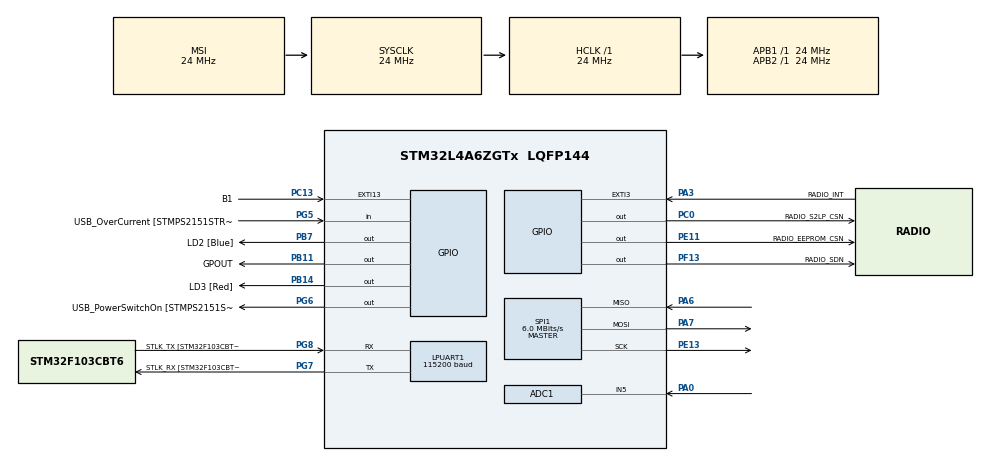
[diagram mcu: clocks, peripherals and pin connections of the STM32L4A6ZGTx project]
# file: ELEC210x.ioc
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ADC1.Channel-0\#ChannelRegularConversion=ADC_CHANNEL_5
ADC1.ClockPrescaler=ADC_CLOCK_ASYNC_DIV1
ADC1.ContinuousConvMode=DISABLE
ADC1.DMAContinuousRequests=ENABLE
ADC1.ExternalTrigConv=ADC_EXTERNALTRIG_T3_TRGO
ADC1.NbrOfConversionFlag=1
ADC1.OffsetNumber-0\#ChannelRegularConversion=ADC_OFFSET_NONE
ADC1.Rank-0\#ChannelRegularConversion=1
ADC1.SamplingTime-0\#ChannelRegularConversion=ADC_SAMPLETIME_2CYCLES_5
ADC1.master=1
Dma.ADC1.0.Direction=DMA_PERIPH_TO_MEMORY
Dma.ADC1.0.Instance=DMA1_Channel1
Dma.ADC1.0.MemDataAlignment=DMA_MDATAALIGN_HALFWORD
Dma.ADC1.0.MemInc=DMA_MINC_ENABLE
Dma.ADC1.0.Mode=DMA_CIRCULAR
Dma.ADC1.0.PeriphDataAlignment=DMA_PDATAALIGN_HALFWORD
Dma.ADC1.0.PeriphInc=DMA_PINC_DISABLE
Dma.ADC1.0.Priority=DMA_PRIORITY_LOW
Dma.Request0=ADC1
LPUART1.AutoBaudRateEnableParam=UART_ADVFEATURE_AUTOBAUDRATE_DISABLE
LPUART1.BaudRate=115200
LPUART1.DMADisableonRxErrorParam=UART_ADVFEATURE_DMA_ENABLEONRXERROR
LPUART1.DataInvertParam=UART_ADVFEATURE_DATAINV_DISABLE
LPUART1.MSBFirstParam=UART_ADVFEATURE_MSBFIRST_DISABLE
LPUART1.Mode=UART_MODE_TX_RX
LPUART1.OneBitSampling=UART_ONE_BIT_SAMPLE_DISABLE
LPUART1.OverrunDisableParam=UART_ADVFEATURE_OVERRUN_ENABLE
LPUART1.Parity=UART_PARITY_NONE
LPUART1.RxPinLevelInvertParam=UART_ADVFEATURE_RXINV_DISABLE
LPUART1.StopBits=UART_STOPBITS_1
LPUART1.SwapParam=UART_ADVFEATURE_SWAP_DISABLE
LPUART1.TxPinLevelInvertParam=UART_ADVFEATURE_TXINV_DISABLE
LPUART1.WordLength=UART_WORDLENGTH_8B
Mcu.Family=STM32L4
Mcu.Name=STM32L4A6ZGTx
Mcu.Package=LQFP144
NVIC.DMA1_Channel1_IRQn=true\:0\:0\:false\:false\:true\:false\:true\:true
NVIC.EXTI15_10_IRQn=true\:0\:0\:false\:false\:true\:true\:true\:true
NVIC.EXTI3_IRQn=true\:0\:0\:false\:false\:true\:true\:true\:true
NVIC.PriorityGroup=NVIC_PRIORITYGROUP_4
PA0.Signal=ADCx_IN5
PA13\ (JTMS/SWDIO).GPIO_Label=TMS
PA13\ (JTMS/SWDIO).Mode=Trace_Asynchronous_SW
PA13\ (JTMS/SWDIO).Signal=SYS_JTMS-SWDIO
PA14\ (JTCK/SWCLK).GPIO_Label=TCK
PA14\ (JTCK/SWCLK).Mode=Trace_Asynchronous_SW
PA14\ (JTCK/SWCLK).Signal=SYS_JTCK-SWCLK
PA3.GPIO_Label=RADIO_INT
PA3.GPIO_ModeDefaultEXTI=GPIO_MODE_IT_FALLING
PA3.Signal=GPXTI3
PA6.Mode=Full_Duplex_Master
PA6.Signal=SPI1_MISO
PA7.Mode=Full_Duplex_Master
PA7.Signal=SPI1_MOSI
PB11.GPIO_Label=GPOUT
PB11.Signal=GPIO_Output
PB14.GPIO_Label=LD3 [Red]
PB14.Signal=GPIO_Output
PB3\ (JTDO/TRACESWO).GPIO_Label=SWO
PB3\ (JTDO/TRACESWO).Mode=Trace_Asynchronous_SW
PB3\ (JTDO/TRACESWO).Signal=SYS_JTDO-SWO
PB7.GPIO_Label=LD2 [Blue]
PB7.Signal=GPIO_Output
PC0.GPIO_Label=RADIO_S2LP_CSN
PC0.GPIO_Speed=GPIO_SPEED_FREQ_VERY_HIGH
PC0.PinState=GPIO_PIN_SET
PC0.Signal=GPIO_Output
PC13.GPIO_Label=B1
PC13.GPIO_ModeDefaultEXTI=GPIO_MODE_IT_RISING
PC13.Signal=GPXTI13
PC14-OSC32_IN\ (PC14).Mode=LSE-External-Oscillator
PC14-OSC32_IN\ (PC14).Signal=RCC_OSC32_IN
PC15-OSC32_OUT\ (PC15).Mode=LSE-External-Oscillator
PC15-OSC32_OUT\ (PC15).Signal=RCC_OSC32_OUT
PE11.GPIO_Label=RADIO_EEPROM_CSN
PE11.PinState=GPIO_PIN_SET
PE11.Signal=GPIO_Output
PE13.Mode=Full_Duplex_Master
PE13.Signal=SPI1_SCK
PF13.GPIO_Label=RADIO_SDN
PF13.PinState=GPIO_PIN_SET
PF13.Signal=GPIO_Output
PG5.GPIO_Label=USB_OverCurrent [STMPS2151STR_FAULT]
PG5.Signal=GPIO_Input
PG6.GPIO_Label=USB_PowerSwitchOn [STMPS2151STR_EN]
PG6.Signal=GPIO_Output
PG7.GPIO_Label=STLK_RX [STM32F103CBT6_PA3]
PG7.Mode=Asynchronous
PG7.Signal=LPUART1_TX
PG8.GPIO_Label=STLK_TX [STM32F103CBT6_PA2]
PG8.Mode=Asynchronous
PG8.Signal=LPUART1_RX
ProjectManager.HeapSize=0x200
ProjectManager.StackSize=0x400
ProjectManager.TargetToolchain=STM32CubeIDE
RCC.ADCCLockSelection=RCC_ADCCLKSOURCE_SYSCLK
RCC.ADCFreq_Value=24000000
RCC.AHBFreq_Value=24000000
RCC.APB1Freq_Value=24000000
RCC.APB1TimFreq_Value=24000000
RCC.APB2Freq_Value=24000000
RCC.APB2TimFreq_Value=24000000
RCC.CortexFreq_Value=24000000
RCC.FLatency=FLASH_LATENCY_1
RCC.HCLKFreq_Value=24000000
RCC.HSE_VALUE=8000000
RCC.HSI48_VALUE=48000000
RCC.HSI_VALUE=16000000
RCC.LPUART1CLockSelection=RCC_LPUART1CLKSOURCE_SYSCLK
RCC.MSIClockRange=RCC_MSIRANGE_9
RCC.MSI_VALUE=24000000
RCC.PLLN=24
RCC.PLLSAI1N=24
RCC.SYSCLKFreq_VALUE=24000000
RCC.USBFreq_Value=288000000
RCC.VCOOutputFreq_Value=576000000
SH.ADCx_IN5.0=ADC1_IN5,IN5-Single-Ended
SPI1.BaudRatePrescaler=SPI_BAUDRATEPRESCALER_4
SPI1.CalculateBaudRate=6.0 MBits/s
SPI1.DataSize=SPI_DATASIZE_8BIT
SPI1.Direction=SPI_DIRECTION_2LINES
SPI1.Mode=SPI_MODE_MASTER
SPI1.VirtualType=VM_MASTER
TIM3.Period=99
TIM3.Prescaler=23
TIM3.TIM_MasterOutputTrigger=TIM_TRGO_UPDATE
VP_TIM3_VS_ClockSourceINT.Mode=Internal
board=NUCLEO-L4A6ZG

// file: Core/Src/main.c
/* USER CODE BEGIN Header */
/**
 ******************************************************************************
 * @file           : main.c
 * @brief          : Main program body
 ******************************************************************************
 * @attention
 *
 * Copyright (c) 2026 STMicroelectronics.
 * All rights reserved.
 *
 * This software is licensed under terms that can be found in the LICENSE file
 * in the root directory of this software component.
 * If no LICENSE file comes with this software, it is provided AS-IS.
 *
 ******************************************************************************
 */
/* USER CODE END Header */
#include "main.h"
#include "adc.h"
#include "dma.h"
#include "spi.h"
#include "tim.h"
#include "gpio.h"

/* USER CODE BEGIN Includes */
#include "config.h"
#include "arm_math.h"
#include "usart.h"
#include "utils.h"
#include "s2lp.h"
#include "acquisition.h"
#include "computation.h"
#include "transfer.h"
#include "eval_radio.h"
/* USER CODE END Includes */

/* USER CODE BEGIN PV */
// From acquisition
extern volatile uint16_t *samples_buf_to_process;
extern volatile uint8_t is_processing;
// From computation
extern q15_t mel_vectors[N_MELVECS][MELVEC_LENGTH];
extern volatile uint8_t cur_melvec;
// From transfer
extern uint8_t packet[PACKET_LENGTH];
/* USER CODE END PV */

void SystemClock_Config(void);

/* USER CODE BEGIN 0 */

/*
 * @brief Manages external interrupts : user button and S2LP radio.
 * @note This overrides the __weak__ function in stm32l4xx_hal_gpio.c to provide an user implementation.
 */
void HAL_GPIO_EXTI_Callback(uint16_t GPIO_Pin)
{
	if (GPIO_Pin == B1_Pin) { // User button
		if (acquisition_start()) {
			printf("Acquisition not started, already running\r\n");
		} else {
			printf("Acquisition started\r\n");
		}
	}
	else if (GPIO_Pin == RADIO_INT_Pin) { // S2LP radio, will be used in P2d
		S2LP_IRQ_Handler();
	}
}
/* USER CODE END 0 */

int main(void)
{

  /* MCU Configuration--------------------------------------------------------*/

  /* Reset of all peripherals, Initializes the Flash interface and the Systick. */
  HAL_Init();

  /* Configure the system clock */
  SystemClock_Config();

  /* Initialize all configured peripherals */
  MX_GPIO_Init();
  MX_DMA_Init();
  MX_SPI1_Init();
  MX_ADC1_Init();
  MX_TIM3_Init();
  /* USER CODE BEGIN 2 */
#if DEBUGP
	MX_LPUART1_UART_Init();
	DEBUG_PRINT("Hello :)\r\n");
#endif
#if ENABLE_RADIO
  HAL_StatusTypeDef err = S2LP_Init(&hspi1);
  if (err)  {
	  DEBUG_PRINT("[S2LP] Error while initializing: %u\r\n", err);
	  Error_Handler();
  } else {
	  DEBUG_PRINT("[S2LP] Init OK\r\n");
  }
#endif
#if (RUN_CONFIG == EVAL_RADIO)
  eval_radio_start();
#else // MAIN_APP
  DEBUG_PRINT("Press the blue button to start acquisition.\r\n");
  /* USER CODE END 2 */

  /* Infinite loop */
  /* USER CODE BEGIN WHILE */
	while (1)
	{
		if (is_processing) {
			HAL_GPIO_TogglePin(GPOUT_GPIO_Port, GPOUT_Pin); // for oscillo timing measurements
			melvec_compute((q15_t *)samples_buf_to_process , mel_vectors[cur_melvec]);
			HAL_GPIO_TogglePin(GPOUT_GPIO_Port, GPOUT_Pin); // for oscillo timing measurements
			is_processing = 0;
			cur_melvec++;
			if (cur_melvec == N_MELVECS) {
				cur_melvec = 0;
				acquisition_stop();
				make_packet();
				HAL_GPIO_TogglePin(GPOUT_GPIO_Port, GPOUT_Pin); // for oscillo timing measurements
				send_packet();
				HAL_GPIO_TogglePin(GPOUT_GPIO_Port, GPOUT_Pin); // for oscillo timing measurements
#if CONTINUOUS_ACQ
				acquisition_start();
#endif // CONTINUOUS_ACQ
			}
		}
		__WFI();
    /* USER CODE END WHILE */

    /* USER CODE BEGIN 3 */
	}
#endif // RUN_CONFIG == EVAL_RADIO
  /* USER CODE END 3 */
}

void SystemClock_Config(void)
{
  RCC_OscInitTypeDef RCC_OscInitStruct = {0};
  RCC_ClkInitTypeDef RCC_ClkInitStruct = {0};

  /** Configure the main internal regulator output voltage
  */
  if (HAL_PWREx_ControlVoltageScaling(PWR_REGULATOR_VOLTAGE_SCALE1) != HAL_OK)
  {
    Error_Handler();
  }

  /** Initializes the RCC Oscillators according to the specified parameters
  * in the RCC_OscInitTypeDef structure.
  */
  RCC_OscInitStruct.OscillatorType = RCC_OSCILLATORTYPE_MSI;
  RCC_OscInitStruct.MSIState = RCC_MSI_ON;
  RCC_OscInitStruct.MSICalibrationValue = 0;
  RCC_OscInitStruct.MSIClockRange = RCC_MSIRANGE_9;
  RCC_OscInitStruct.PLL.PLLState = RCC_PLL_NONE;
  if (HAL_RCC_OscConfig(&RCC_OscInitStruct) != HAL_OK)
  {
    Error_Handler();
  }

  /** Initializes the CPU, AHB and APB buses clocks
  */
  RCC_ClkInitStruct.ClockType = RCC_CLOCKTYPE_HCLK|RCC_CLOCKTYPE_SYSCLK
                              |RCC_CLOCKTYPE_PCLK1|RCC_CLOCKTYPE_PCLK2;
  RCC_ClkInitStruct.SYSCLKSource = RCC_SYSCLKSOURCE_MSI;
  RCC_ClkInitStruct.AHBCLKDivider = RCC_SYSCLK_DIV1;
  RCC_ClkInitStruct.APB1CLKDivider = RCC_HCLK_DIV1;
  RCC_ClkInitStruct.APB2CLKDivider = RCC_HCLK_DIV1;

  if (HAL_RCC_ClockConfig(&RCC_ClkInitStruct, FLASH_LATENCY_1) != HAL_OK)
  {
    Error_Handler();
  }
}

void Error_Handler(void)
{
  /* USER CODE BEGIN Error_Handler_Debug */
	__disable_irq();
	DEBUG_PRINT("Entering error Handler\r\n");
	while (1)
	{
		// Blink LED3 (red)
		HAL_GPIO_WritePin(GPIOB, LD3_Pin, GPIO_PIN_SET);
		for (volatile int i=0; i < SystemCoreClock/200; i++);
		HAL_GPIO_WritePin(GPIOB, LD3_Pin, GPIO_PIN_RESET);
		for (volatile int i=0; i < SystemCoreClock/200; i++);
	}
  /* USER CODE END Error_Handler_Debug */
}
